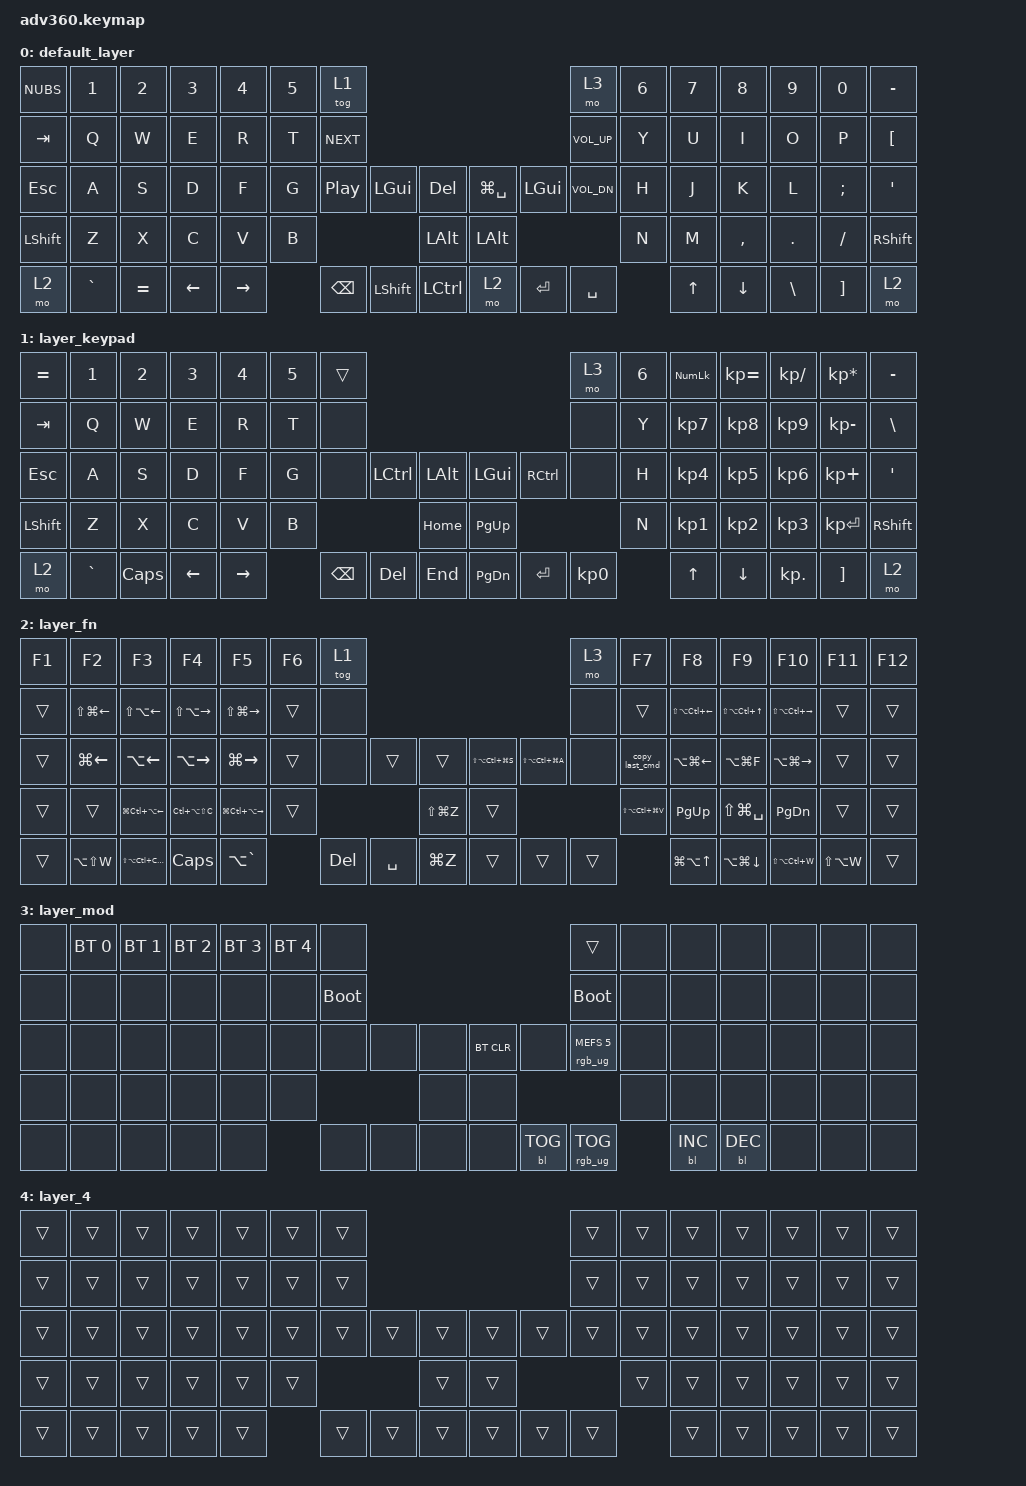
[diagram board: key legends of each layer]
/*
 * Copyright (c) 2020 The ZMK Contributors
 *
 * SPDX-License-Identifier: MIT
 */
/* THIS FILE WAS GENERATED!
 *
 * This file was generated automatically. You may or may not want to
 * edit it directly.
 */

#include <dt-bindings/zmk/stp.h>
#include <behaviors.dtsi>
#include <dt-bindings/zmk/backlight.h>
#include <dt-bindings/zmk/bt.h>
#include <dt-bindings/zmk/keys.h>
#include <dt-bindings/zmk/rgb.h>

/ {
    behaviors {
        #include "macros.dtsi"
      #include "version.dtsi"

        hm: homerow_mods {
            compatible = "zmk,behavior-hold-tap";
            label = "HOMEROW_MODS";
            #binding-cells = <2>;
            tapping-term-ms = <200>;
            quick_tap_ms = <175>;
            flavor = "tap-preferred";
            bindings = <&kp>, <&kp>;
        };
    };

    macros {
        copy_last_cmd: copy_last_cmd {
            compatible = "zmk,behavior-macro";
            #binding-cells = <0>;
            bindings = <&kp LS(LG(A)) &kp LS(UP_ARROW) &kp LG(C)>;
            label = "COPY_LAST_CMD";
        };
    };

    keymap {
        compatible = "zmk,keymap";

        default_layer {
            bindings = <
&kp NUBS   &kp N1     &kp N2     &kp N3    &kp N4     &kp N5  &tog 1                                                                     &mo 3         &kp N6  &kp N7  &kp N8     &kp N9    &kp N0    &kp MINUS
&kp TAB    &kp Q      &kp W      &kp E     &kp R      &kp T   &kp C_NEXT                                                                 &kp C_VOL_UP  &kp Y   &kp U   &kp I      &kp O     &kp P     &kp LBKT
&kp ESC    &kp A      &kp S      &kp D     &kp F      &kp G   &kp C_PLAY_PAUSE  &kp LGUI        &kp DEL        &kp LG(SPACE)  &kp LGUI   &kp C_VOL_DN  &kp H   &kp J   &kp K      &kp L     &kp SEMI  &kp SQT
&kp LSHFT  &kp Z      &kp X      &kp C     &kp V      &kp B                                     &kp LALT       &kp LALT                                &kp N   &kp M   &kp COMMA  &kp DOT   &kp FSLH  &kp RSHFT
&mo 2      &kp GRAVE  &kp EQUAL  &kp LEFT  &kp RIGHT          &kp BSPC          &kp LEFT_SHIFT  &kp LCTRL      &mo 2          &kp ENTER  &kp SPACE             &kp UP  &kp DOWN   &kp BSLH  &kp RBKT  &mo 2
            >;
        };

        layer_keypad {
            bindings = <
&kp EQUAL  &kp N1     &kp N2    &kp N3    &kp N4     &kp N5  &trans                                                   &mo 3      &kp N6  &kp KP_NUM  &kp KP_EQUAL  &kp KP_DIVIDE  &kp KP_MULTIPLY  &kp MINUS
&kp TAB    &kp Q      &kp W     &kp E     &kp R      &kp T   &none                                                    &none      &kp Y   &kp KP_N7   &kp KP_N8     &kp KP_N9      &kp KP_MINUS     &kp BSLH
&kp ESC    &kp A      &kp S     &kp D     &kp F      &kp G   &none     &kp LCTRL  &kp LALT      &kp LGUI   &kp RCTRL  &none      &kp H   &kp KP_N4   &kp KP_N5     &kp KP_N6      &kp KP_PLUS      &kp SQT
&kp LSHFT  &kp Z      &kp X     &kp C     &kp V      &kp B                        &kp HOME      &kp PG_UP                        &kp N   &kp KP_N1   &kp KP_N2     &kp KP_N3      &kp KP_ENTER     &kp RSHFT
&mo 2      &kp GRAVE  &kp CAPS  &kp LEFT  &kp RIGHT          &kp BSPC  &kp DEL    &kp END       &kp PG_DN  &kp ENTER  &kp KP_N0          &kp UP      &kp DOWN      &kp KP_DOT     &kp RBKT         &mo 2
            >;
        };

        layer_fn {
            bindings = <
&kp F1  &kp F2            &kp F3                      &kp F4             &kp F5                       &kp F6  &tog 1                                                                               &mo 3   &kp F7                 &kp F8                &kp F9              &kp F10                &kp F11        &kp F12
&trans  &kp LS(LG(LEFT))  &kp LS(LA(LEFT))            &kp LS(LA(RIGHT))  &kp LS(LG(RIGHT))            &trans  &none                                                                                &none   &trans                 &kp LS(LA(LC(LEFT)))  &kp LS(LA(LC(UP)))  &kp LS(LA(LC(RIGHT)))  &trans         &trans
&trans  &kp LG(LEFT)      &kp LA(LEFT)                &kp LA(RIGHT)      &kp LG(RIGHT)                &trans  &none    &trans     &trans             &kp LS(LA(LC(LG(S))))  &kp LS(LA(LC(LG(A))))  &none   &copy_last_cmd         &kp LA(LG(LEFT))      &kp LA(LG(F))       &kp LA(LG(RIGHT))      &trans         &trans
&trans  &trans            &kp LG(LC(LA(LEFT_ARROW)))  &kp LC(LA(LS(C)))  &kp LG(LC(LA(RIGHT_ARROW)))  &trans                      &kp LS(LG(Z))      &trans                                                &kp LS(LA(LC(LG(V))))  &kp PG_UP             &kp LS(LG(SPACE))   &kp PG_DN              &trans         &trans
&trans  &kp LA(LS(W))     &kp LS(LA(LC(CAPS)))        &kp CAPS           &kp LA(GRAVE)                        &kp DEL  &kp SPACE  &kp LG(Z)          &trans                 &trans                 &trans                         &kp LG(LA(UP))        &kp LA(LG(DOWN))    &kp LS(LA(LC(W)))      &kp LS(LA(W))  &trans
            >;
        };

        layer_mod {
            bindings = <
&none  &bt BT_SEL 0  &bt BT_SEL 1  &bt BT_SEL 2  &bt BT_SEL 3  &bt BT_SEL 4  &none                                                  &trans                  &none  &none       &none       &none  &none  &none
&none  &none         &none         &none         &none         &none         &bootloader                                            &bootloader             &none  &none       &none       &none  &none  &none
&none  &none         &none         &none         &none         &none         &none        &none  &none      &bt BT_CLR  &none       &rgb_ug RGB_MEFS_CMD 5  &none  &none       &none       &none  &none  &none
&none  &none         &none         &none         &none         &none                             &none      &none                                           &none  &none       &none       &none  &none  &none
&none  &none         &none         &none         &none                       &none        &none  &none      &none       &bl BL_TOG  &rgb_ug RGB_TOG                &bl BL_INC  &bl BL_DEC  &none  &none  &none
            >;
        };

        layer_4 {
            bindings = <
&trans  &trans  &trans  &trans  &trans  &trans  &trans                                      &trans  &trans  &trans  &trans  &trans  &trans  &trans
&trans  &trans  &trans  &trans  &trans  &trans  &trans                                      &trans  &trans  &trans  &trans  &trans  &trans  &trans
&trans  &trans  &trans  &trans  &trans  &trans  &trans  &trans  &trans      &trans  &trans  &trans  &trans  &trans  &trans  &trans  &trans  &trans
&trans  &trans  &trans  &trans  &trans  &trans                  &trans      &trans                  &trans  &trans  &trans  &trans  &trans  &trans
&trans  &trans  &trans  &trans  &trans          &trans  &trans  &trans      &trans  &trans  &trans          &trans  &trans  &trans  &trans  &trans
            >;
        };
    };
};
